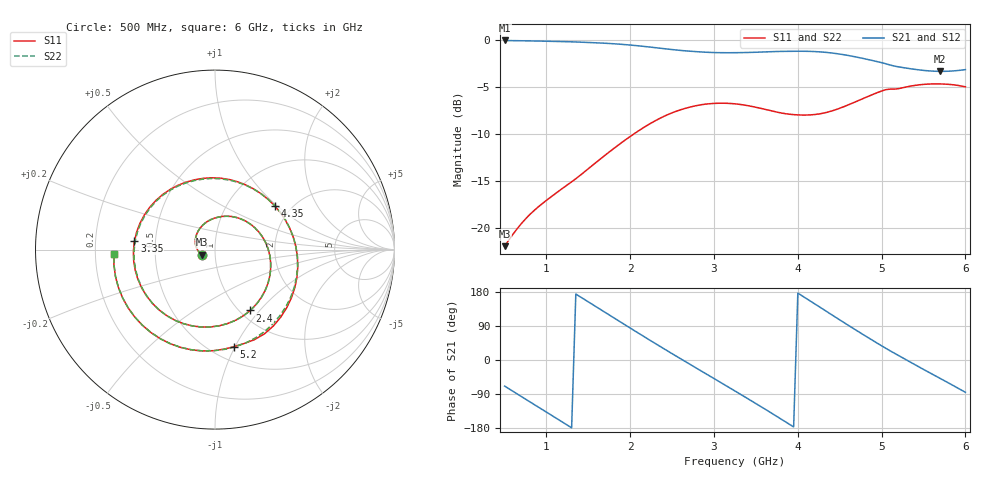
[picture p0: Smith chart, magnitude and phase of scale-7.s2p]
! Touchstone file from project sampleWidthScale-7
! Exported from HFSS-IE 2014.0.2
! Variables:
!  $perm = 6
!  impedance = 157.9ohm
!  insulationThickness = 0in
!  length = 4in
!  portSize = 1mm
!  sampleSide = 0.875in
!  sampleThickness = 0.25in
!  scale = 7
!  spacing = 0.25in
!  wireDiam = 0.125in
!  wireRadius = 0.0625in
# GHZ S MA R 157.900000
! Terminal data exported
! Port[1] = Rectangle2_T1
! Port[2] = Rectangle2_T2
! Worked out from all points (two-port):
!   111 points, 500 MHz to 6 GHz, reference 157.9 ohm
!   highest |S21| = -0.03 dB at 500 MHz (marker M1); lowest = -3.3 dB at 5.7 GHz (marker M2)
!   |S21| within 3 dB of the highest: start of sweep to 5.332 GHz
!   lowest |S11| = -22.0 dB at 500 MHz (marker M3), VSWR 1.17, Z = 136 - j7.73 ohm
!   |S11| at or under -10 dB: start of sweep to 2.045 GHz
!   |S22| runs from -22.0 to -4.7 dB; largest |S21 - S12| = 1.7e-14
!   S11 on the Smith chart (normalised r, x): 500 MHz: 0.86, -0.05; 2.4 GHz: 1.11, -0.89; 3.35 GHz: 0.38, +0.04; 4.35 GHz: 1.64, +0.97; 5.2 GHz: 0.64, -0.99; 6 GHz: 0.28, -0.02
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0.5  0.07959 -159.2  0.996 -68.9  0.996 -68.9  0.07966 -159.3
0.75  0.1112 166.3  0.9915 -103.3  0.9915 -103.3  0.1111 166.3
1.05  0.1454 125.1  0.9854 -144.5  0.9854 -144.5  0.1453 125.1
1.25  0.1691 97.6  0.9808 -172.1  0.9808 -172.1  0.1689 97.6
1.45  0.1977 70.4  0.9735 160.2  0.9735 160.2  0.1973 70.3
1.7  0.2433 35.7  0.9624 125.7  0.9624 125.7  0.2428 35.7
1.9  0.2846 8.0  0.9494 98.0  0.9494 98.0  0.2847 7.9
2.1  0.3285 -19.4  0.9321 70.5  0.9321 70.5  0.3294 -19.5
2.35  0.3819 -53.3  0.9062 36.6  0.9062 36.6  0.383 -53.4
2.4  0.3917 -60.0  0.9009 29.9  0.9009 29.9  0.3926 -60.1
2.8  0.4483 -113.0  0.8675 -22.9  0.8675 -22.9  0.4488 -113.0
3.25  0.4572 -172.5  0.857 -81.8  0.857 -81.8  0.4539 -172.7
3.35  0.4512 174.1  0.8583 -95.1  0.8583 -95.1  0.4472 174.0
3.8  0.4088 113.0  0.8706 -155.9  0.8706 -155.9  0.4049 112.8
4  0.3992 85.4  0.8723 176.5  0.8723 176.5  0.3956 85.5
4.2  0.4009 57.3  0.869 148.4  0.869 148.4  0.3998 57.6
4.35  0.4123 36.5  0.8591 127.1  0.8591 127.1  0.4129 36.7
4.7  0.4711 -11.7  0.8122 78.0  0.8122 78.0  0.4699 -11.8
5.1  0.5479 -66.5  0.737 24.4  0.737 24.4  0.541 -65.2
5.2  0.5508 -78.8  0.7203 12.1  0.7203 12.1  0.5529 -78.2
5.7  0.5839 -140.0  0.6815 -48.8  0.6815 -48.8  0.5837 -140.0
6  0.5634 -177.8  0.6961 -85.2  0.6961 -85.2  0.5633 -177.8
